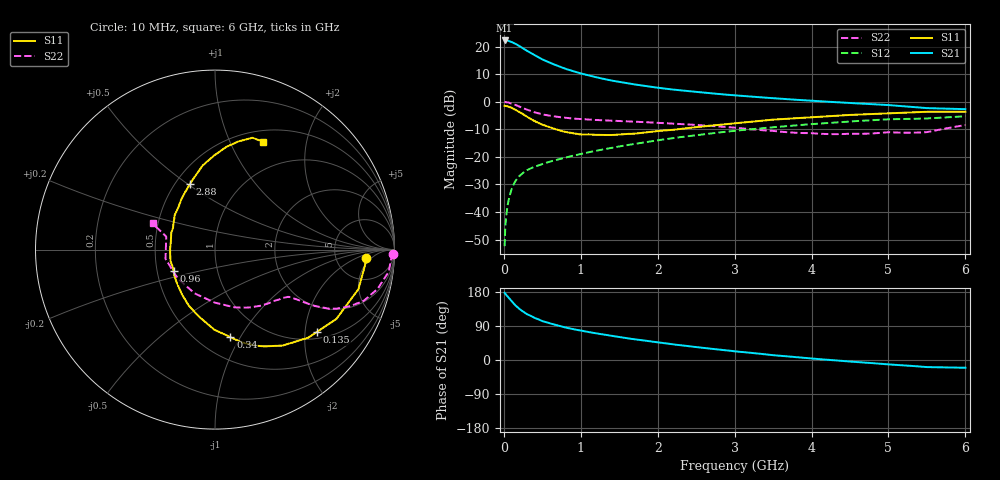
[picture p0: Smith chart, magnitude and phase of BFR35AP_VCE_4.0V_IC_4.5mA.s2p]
! Infineon Technologies  Discrete & RF Semiconductors
! BFR35AP
! VCE =  4.0 V,  IC =  4.5 mA
! Common Emitter S-Parameters:  Nov 2015
# GHz  S  MA  R  50
!  f  S11  S21  S12  S22
! GHz  MAG  ANG  MAG  ANG  MAG  ANG  MAG  ANG
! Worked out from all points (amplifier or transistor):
!   210 points, 10 MHz to 6 GHz, reference 50 ohm
!   highest |S21| = 22.2 dB at 10 MHz (marker M1)
!   |S21| within 3 dB of that: start of sweep to 256.3 MHz
!   unconditionally stable (mu >= 1): 848.7 MHz to 3.407 GHz
!   at 185 MHz: K = 0.35, MSG = 24.0 dB, |S12| = -27.5 dB
!   at 1.52 GHz: K = 1.12, MAG = 9.5 dB, |S12| = -16.1 dB
!   at 6 GHz: K = 0.95, MSG = 1.3 dB, |S12| = -5.3 dB
!   S11 on the Smith chart (normalised r, x): 10 MHz: 11, -3; 135 MHz: 1.17, -2.31; 340 MHz: 0.70, -0.91; 960 MHz: 0.61, -0.16; 2.88 GHz: 0.59, +0.51; 6 GHz: 0.63, +1.33
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0.01  0.8432 -3.1  12.92 177.4  0.0024 91.3  0.9938 -1.3
0.02  0.8399 -6.2  12.91 174.6  0.0055 84.8  0.9828 -2.9
0.05  0.8288 -15.4  12.91 167.2  0.0134 83.1  0.976 -7.2
0.1  0.7789 -29.7  12.15 155.7  0.0257 74.8  0.9318 -13.6
0.135  0.7297 -39.0  11.49 147.7  0.0331 69.7  0.8928 -17.2
0.15  0.715 -43.3  11.29 144.0  0.0364 68.1  0.8773 -18.9
0.2  0.6543 -54.8  10.32 135.2  0.0445 64.0  0.8171 -22.7
0.3  0.5371 -74.1  8.392 121.0  0.0573 58.4  0.7187 -27.3
0.34  0.4957 -80.0  7.808 117.5  0.0609 57.4  0.6875 -28.1
0.4  0.4455 -90.6  7 111.1  0.0663 56.0  0.6409 -29.4
0.5  0.3836 -103.5  5.855 102.7  0.0739 55.3  0.5891 -30.4
0.6  0.3448 -115.1  5.07 96.5  0.0821 54.5  0.5569 -30.9
0.8  0.2838 -138.2  3.96 85.8  0.097 55.6  0.5113 -31.9
0.96  0.2599 -152.6  3.385 79.2  0.1095 56.3  0.4887 -32.7
1.02  0.2546 -158.5  3.207 76.9  0.1141 56.5  0.4826 -33.1
1.4  0.2491 171.8  2.421 63.8  0.1453 56.7  0.4541 -37.6
2.02  0.296 139.0  1.783 46.1  0.2015 54.4  0.4145 -47.4
2.88  0.3912 110.8  1.347 25.7  0.285 47.4  0.3483 -67.8
3.1  0.4193 105.8  1.274 21.1  0.3061 44.9  0.3277 -74.8
4.1  0.5349 88.9  1.022 2.3  0.4014 33.3  0.263 -120.4
5.1  0.6239 76.5  0.848 -12.9  0.4824 19.2  0.2762 -174.6
6  0.6576 66.2  0.733 -20.5  0.5444 8.7  0.3772 157.3
